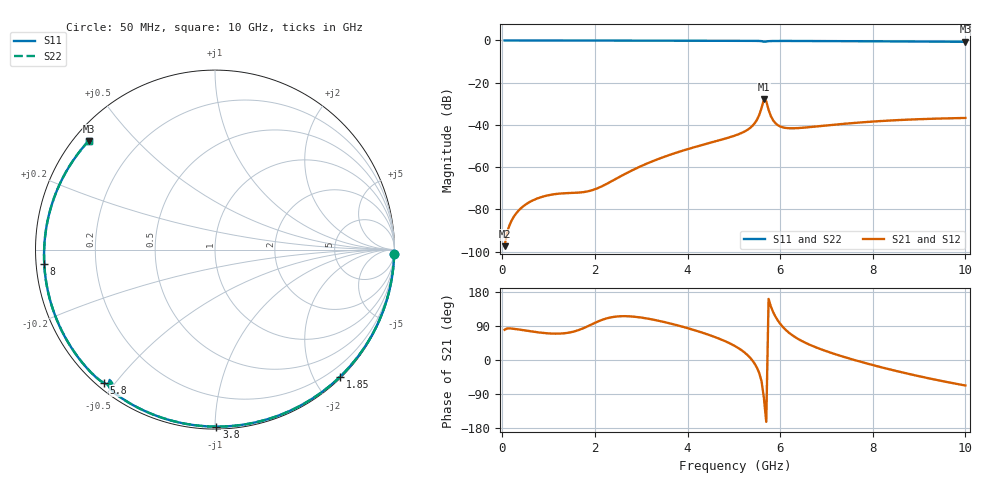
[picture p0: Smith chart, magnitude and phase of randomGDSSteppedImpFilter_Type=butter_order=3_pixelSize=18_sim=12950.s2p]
! freq	dB(S11)	phase(S11)	dB(S12)	phase(S12)
!  dB(S21)	phase(S21)	dB(S22)	phase(S22)
!S-par simulation data
#  GHz  S  DB  R 50
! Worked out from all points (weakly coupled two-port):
!   200 points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, 50 MHz to 10 GHz, reference 50 ohm
!   highest |S21| = -27.96 dB at 5.65 GHz (marker M1); lowest = -97.4 dB at 50 MHz (marker M2)
!   lowest |S11| = -0.6 dB at 10 GHz (marker M3), VSWR 26.95, Z = 2.11 + j18.5 ohm
!   |S11| at or under -10 dB: nowhere
!   |S22| runs from -0.6 to 0.0 dB; largest |S21 - S12| = 0
!   S11 on the Smith chart (normalised r, x): 50 MHz: 5, -89; 1.85 GHz: 0.02, -2.39; 3.8 GHz: 0.01, -1.01; 5.8 GHz: 0.02, -0.47; 8 GHz: 0.02, -0.04; 10 GHz: 0.04, +0.37
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0.05  -0.01 -1.3  -97.42 79.8  -97.42 79.8  -0.01 -1.3
0.35  -0.02 -8.8  -80.61 80.5  -80.61 80.5  -0.02 -8.8
0.65  -0.02 -16.2  -75.83 74.9  -75.83 74.9  -0.02 -16.2
1  -0.03 -24.9  -73.27 70.2  -73.27 70.2  -0.03 -24.9
1.75  -0.05 -43.0  -71.83 83.8  -71.83 83.8  -0.05 -43.0
1.85  -0.06 -45.4  -71.44 89.3  -71.44 89.3  -0.06 -45.4
3.4  -0.11 -80.9  -55.88 102.9  -55.88 102.9  -0.11 -80.9
3.8  -0.12 -89.6  -52.85 90.9  -52.85 90.9  -0.12 -89.6
5.05  -0.18 -115.9  -44.84 34.9  -44.84 34.9  -0.18 -115.9
5.3  -0.19 -121.1  -42.25 12.4  -42.25 12.4  -0.19 -121.1
5.45  -0.21 -124.4  -39.22 -9.8  -39.22 -9.8  -0.21 -124.4
5.55  -0.26 -126.8  -35.22 -34.9  -35.22 -34.9  -0.26 -126.8
5.65  -0.60 -128.9  -27.96 -100.9  -27.96 -100.9  -0.60 -129.0
5.7  -0.54 -127.6  -28.79 -163.2  -28.79 -163.2  -0.54 -127.6
5.8  -0.29 -129.8  -35.87 141.0  -35.87 141.0  -0.29 -129.9
5.9  -0.25 -132.2  -39.24 114.2  -39.24 114.2  -0.25 -132.2
6.05  -0.24 -135.4  -41.12 88.4  -41.12 88.4  -0.24 -135.4
6.7  -0.29 -148.7  -40.92 37.0  -40.92 37.0  -0.29 -148.7
8  -0.40 -175.3  -38.41 -13.4  -38.41 -13.4  -0.40 -175.3
8.35  -0.44 177.2  -37.94 -24.3  -37.94 -24.3  -0.44 177.2
9.2  -0.54 158.4  -37.14 -48.1  -37.14 -48.1  -0.54 158.4
10  -0.64 139.3  -36.72 -67.3  -36.72 -67.3  -0.64 139.3
